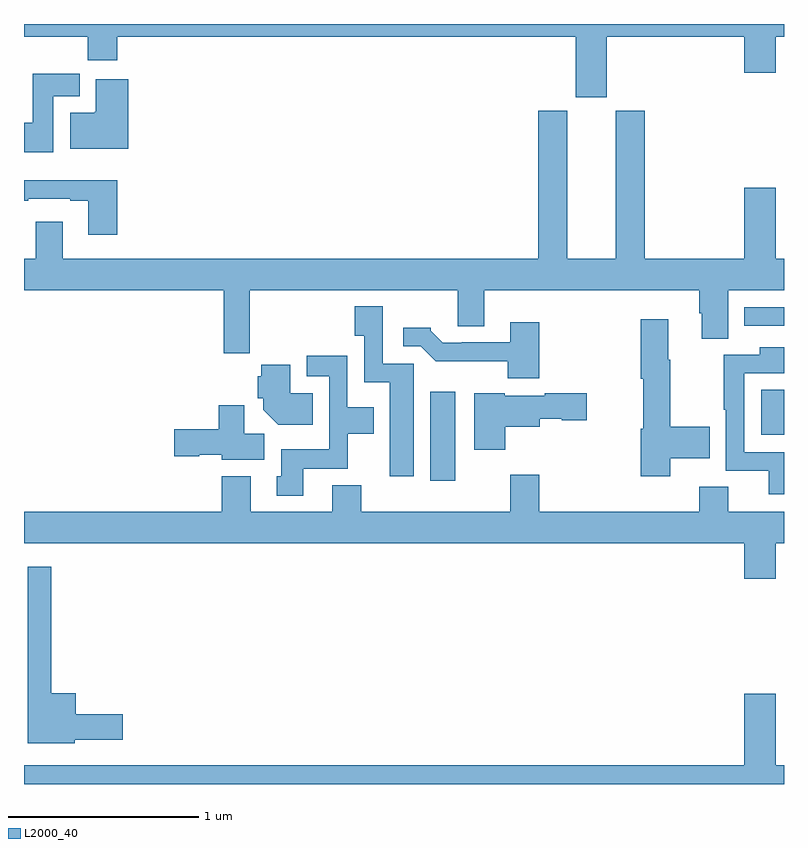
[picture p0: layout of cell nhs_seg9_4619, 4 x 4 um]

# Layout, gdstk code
import gdstk
lib = gdstk.Library(unit=1e-6, precision=1e-09)
def R(c, l, rs):  # rectangles x0, y0, x1, y1
    for r in rs: c.add(gdstk.rectangle(r[:2], r[2:], *l))
def P(c, l, *ps):  # polygons
    for p in ps: c.add(gdstk.Polygon(p, *l))
L2000_40 = (2000, 40)

nhs_seg9_4619 = lib.new_cell('nhs_seg9_4619')
R(nhs_seg9_4619, L2000_40, [(379.139,1182.096,379.27,1182.565), (380.879,1182.338,381,1182.574), (380.792,1182.912,381,1183.008)])
P(nhs_seg9_4619, L2000_40, [(380.068,1184.432),(380.792,1184.432),(380.792,1184.244),(380.956,1184.244),(380.956,1184.432),(381,1184.432),(381,1184.5),(377,1184.5),(377,1184.432),(377.335,1184.432),(377.335,1184.308),(377.492,1184.308),(377.492,1184.432),(379.904,1184.432),(379.904,1184.115),(380.068,1184.115)],
  [(377.155,1184.12),(377.293,1184.12),(377.293,1184.238),(377.045,1184.238),(377.045,1183.98),(377,1183.98),(377,1183.824),(377.155,1183.824)],
  [(377.549,1184.209),(377.378,1184.209),(377.378,1184.038),(377.372,1184.038),(377.372,1184.032),(377.243,1184.032),(377.243,1183.844),(377.549,1183.844)],
  [(378.188,1183.1),(379.283,1183.1),(379.283,1182.91),(379.423,1182.91),(379.423,1183.1),(380.555,1183.1),(380.555,1182.978),(380.567,1182.978),(380.567,1182.844),(380.707,1182.844),(380.707,1183.1),(381,1183.1),(381,1183.264),(380.956,1183.264),(380.956,1183.639),(380.792,1183.639),(380.792,1183.264),(380.267,1183.264),(380.267,1184.043),(380.114,1184.043),(380.114,1183.264),(379.858,1183.264),(379.858,1184.043),(379.706,1184.043),(379.706,1183.264),(377.203,1183.264),(377.203,1183.459),(377.063,1183.459),(377.063,1183.264),(377,1183.264),(377,1183.1),(378.052,1183.1),(378.052,1182.768),(378.188,1182.768)],
  [(377.492,1183.678),(377,1183.678),(377,1183.569),(377.023,1183.569),(377.023,1183.581),(377.243,1183.581),(377.243,1183.569),(377.339,1183.569),(377.339,1183.392),(377.492,1183.392)],
  [(379.051,1182.711),(378.888,1182.711),(378.888,1183.015),(378.74,1183.015),(378.74,1182.859),(378.792,1182.859),(378.792,1182.614),(378.926,1182.614),(378.926,1182.12),(379.051,1182.12)],
  [(380.4,1182.215),(380.609,1182.215),(380.609,1182.381),(380.4,1182.381),(380.4,1182.733),(380.392,1182.733),(380.392,1182.946),(380.246,1182.946),(380.246,1182.633),(380.258,1182.633),(380.258,1182.369),(380.246,1182.369),(380.246,1182.12),(380.4,1182.12)],
  [(379.712,1182.931),(379.559,1182.931),(379.559,1182.825),(379.303,1182.825),(379.303,1182.822),(379.204,1182.822),(379.14,1182.886),(379.14,1182.901),(378.996,1182.901),(378.996,1182.804),(379.089,1182.804),(379.168,1182.726),(379.547,1182.726),(379.547,1182.636),(379.712,1182.636)],
  [(381,1182.246),(380.79,1182.246),(380.79,1182.663),(381,1182.663),(381,1182.799),(380.872,1182.799),(380.872,1182.759),(380.682,1182.759),(380.682,1182.469),(380.694,1182.469),(380.694,1182.15),(380.921,1182.15),(380.921,1182.024),(381,1182.024)],
  [(378.469,1182.158),(378.705,1182.158),(378.705,1182.344),(378.841,1182.344),(378.841,1182.484),(378.702,1182.484),(378.702,1182.754),(378.489,1182.754),(378.489,1182.645),(378.606,1182.645),(378.606,1182.262),(378.353,1182.262),(378.353,1182.12),(378.329,1182.12),(378.329,1182.018),(378.469,1182.018)],
  [(378.521,1182.556),(378.4,1182.556),(378.4,1182.706),(378.248,1182.706),(378.248,1182.645),(378.231,1182.645),(378.231,1182.531),(378.26,1182.531),(378.26,1182.47),(378.338,1182.392),(378.521,1182.392)],
  [(379.534,1182.38),(379.714,1182.38),(379.714,1182.422),(379.83,1182.422),(379.83,1182.415),(379.963,1182.415),(379.963,1182.557),(379.74,1182.557),(379.74,1182.544),(379.53,1182.544),(379.53,1182.556),(379.37,1182.556),(379.37,1182.258),(379.534,1182.258)],
  [(378.265,1182.344),(378.159,1182.344),(378.159,1182.493),(378.026,1182.493),(378.026,1182.368),(377.79,1182.368),(377.79,1182.226),(377.922,1182.226),(377.922,1182.233),(378.042,1182.233),(378.042,1182.206),(378.265,1182.206)],
  [(378.041,1182.121),(378.041,1181.932),(377,1181.932),(377,1181.768),(380.792,1181.768),(380.792,1181.58),(380.956,1181.58),(380.956,1181.768),(381,1181.768),(381,1181.932),(380.707,1181.932),(380.707,1182.065),(380.555,1182.065),(380.555,1181.932),(379.712,1181.932),(379.712,1182.127),(379.559,1182.127),(379.559,1181.932),(378.776,1181.932),(378.776,1182.073),(378.623,1182.073),(378.623,1181.932),(378.193,1181.932),(378.193,1182.121)],
  [(377.268,1180.733),(377.521,1180.733),(377.521,1180.868),(377.272,1180.868),(377.272,1180.978),(377.143,1180.978),(377.143,1181.644),(377.021,1181.644),(377.021,1180.715),(377.268,1180.715)],
  [(381,1180.6),(380.956,1180.6),(380.956,1180.975),(380.792,1180.975),(380.792,1180.6),(377,1180.6),(377,1180.5),(381,1180.5)])

lib.write_gds('nhs_seg9_4619.gds')
